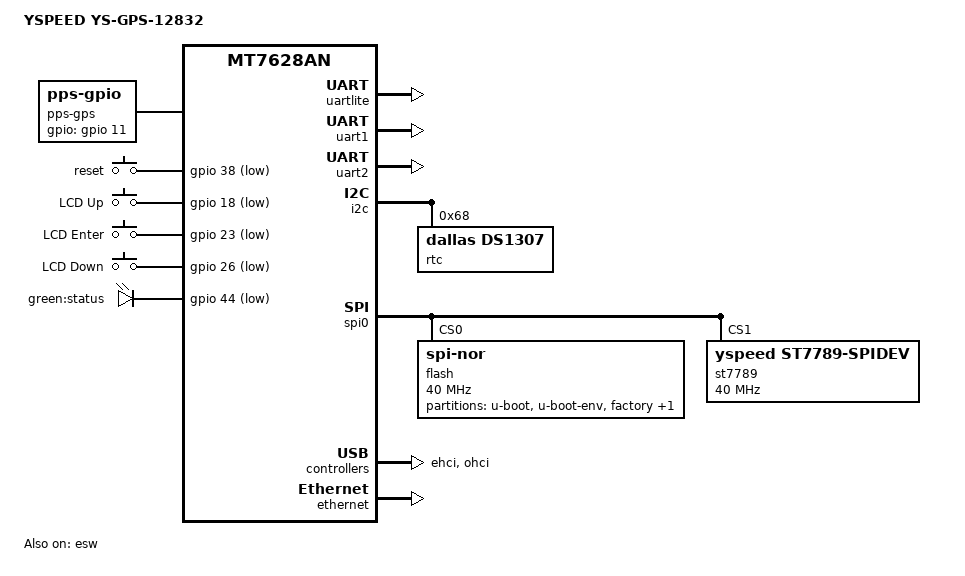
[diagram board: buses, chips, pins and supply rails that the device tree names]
// SPDX-License-Identifier: GPL-2.0-or-later
/*
 * YSPEED YS-GPS-12832: MT7628AN, wired-only, RAM-boot profile.
 *
 * Verified against the vendor device tree captured from the appliance
 * (/hardware/device-tree.dtb, 8583 bytes) and the live /proc snapshots.
 *
 * GPIO ownership:
 *   GPIO14 LCD reset, GPIO16 LCD D/C, GPIO19 backlight  -> userspace, via
 *          sysfs, claimed by /usr/sbin/yspeed-display. No kernel driver.
 *   GPIO18/23/26 front-panel keys                      -> kernel, gpio-keys.
 *          The renderer reads them through evdev and must never export them.
 *   GPIO11 PPS, GPIO38 reset button, GPIO44 status LED  -> kernel.
 *
 * The vendor kernel numbered sysfs GPIOs with base 480 (pin 16 == 496).
 * Mainline 6.12 uses base 0 (pin 16 == 16). Userspace resolves the base at
 * runtime; nothing here may hardcode either scheme.
 */
/dts-v1/;

#include "mt7628an.dtsi"

#include <dt-bindings/gpio/gpio.h>
#include <dt-bindings/input/input.h>

/ {
	model = "YSPEED YS-GPS-12832";
	compatible = "yspeed,ys-gps-12832", "mediatek,mt7628an-soc";

	aliases {
		serial0 = &uartlite;
		serial1 = &uart1;
		serial2 = &uart2;
		led-boot = &led_status;
		led-failsafe = &led_status;
		led-running = &led_status;
		led-upgrade = &led_status;
	};

	chosen {
		/* U-Boot is configured for 57600 baud, not the usual 115200. */
		bootargs = "console=ttyS0,57600 spidev.bufsiz=262144";
	};

	pps-gps {
		compatible = "pps-gpio";
		gpios = <&gpio 11 GPIO_ACTIVE_HIGH>;
		label = "pps-gps";
		status = "okay";
	};

	keys {
		compatible = "gpio-keys";
		#address-cells = <1>;
		#size-cells = <0>;
		poll-interval = <20>;

		reset {
			label = "reset";
			linux,code = <KEY_RESTART>;
			gpios = <&gpio 38 GPIO_ACTIVE_LOW>;
			debounce-interval = <60>;
		};
		lcd-up {
			label = "LCD Up";
			linux,code = <KEY_UP>;
			gpios = <&gpio 18 GPIO_ACTIVE_LOW>;
			debounce-interval = <30>;
		};
		lcd-enter {
			label = "LCD Enter";
			linux,code = <KEY_ENTER>;
			gpios = <&gpio 23 GPIO_ACTIVE_LOW>;
			debounce-interval = <30>;
		};
		lcd-down {
			label = "LCD Down";
			linux,code = <KEY_DOWN>;
			gpios = <&gpio 26 GPIO_ACTIVE_LOW>;
			debounce-interval = <30>;
		};
	};

	leds {
		compatible = "gpio-leds";

		led_status: status {
			label = "green:status";
			gpios = <&gpio 44 GPIO_ACTIVE_LOW>;
			linux,default-trigger = "heartbeat";
		};
	};
};

&state_default {
	gpio {
		groups = "wdt", "wled_an";
		function = "gpio";
	};
};

&uartlite { status = "okay"; };
&uart1 { status = "okay"; };
&uart2 { status = "okay"; };

&i2c {
	status = "okay";

	rtc@68 {
		compatible = "dallas,ds1307";
		reg = <0x68>;
		status = "okay";
	};
};

&spi0 {
	status = "okay";
	pinctrl-names = "default";
	pinctrl-0 = <&spi_pins>, <&spi_cs1_pins>;

	flash@0 {
		compatible = "jedec,spi-nor";
		reg = <0>;
		spi-max-frequency = <40000000>;

		partitions {
			compatible = "fixed-partitions";
			#address-cells = <1>;
			#size-cells = <1>;

			partition@0 {
				label = "u-boot";
				reg = <0x00000000 0x00030000>;
				read-only;
			};

			partition@30000 {
				label = "u-boot-env";
				reg = <0x00030000 0x00010000>;
				read-only;
			};

			partition@40000 {
				label = "factory";
				reg = <0x00040000 0x00010000>;
				read-only;

				/*
				 * The factory block holds three sequential MACs:
				 *   0x04 -> ...:09,  0x28 -> ...:0a,  0x2e -> ...:0b
				 * The vendor DTB pointed at 0x28, but the vendor
				 * UCI overrode eth0.2 with ...:0b. Using 0x2e
				 * therefore reproduces the deployed WAN MAC.
				 */
				nvmem-layout {
					compatible = "fixed-layout";
					#address-cells = <1>;
					#size-cells = <1>;

					macaddr_factory: mac-address@2e {
						reg = <0x2e 0x6>;
					};
				};
			};

			partition@50000 {
				compatible = "denx,uimage";
				label = "firmware";
				reg = <0x00050000 0x01fb0000>;
			};
		};
	};

	/*
	 * Vendor-confirmed userspace display: hardware SPI0 CS1 at 40 MHz.
	 * The vendor DTB used compatible "linux,spidev"; mainline spidev does not
	 * match that, so the build patches spidev.c to accept this string instead.
	 */
	st7789@1 {
		compatible = "yspeed,st7789-spidev";
		reg = <1>;
		spi-max-frequency = <40000000>;
	};
};

&gdma { status = "okay"; };

&ehci { status = "okay"; };
&ohci { status = "okay"; };

&ethernet {
	nvmem-cells = <&macaddr_factory>;
	nvmem-cell-names = "mac-address";
	status = "okay";
};

&esw {
	compatible = "mediatek,mt7628-esw", "ralink,rt3050-esw";
	status = "okay";
};

&pcie { status = "disabled"; };
&wmac { status = "disabled"; };
